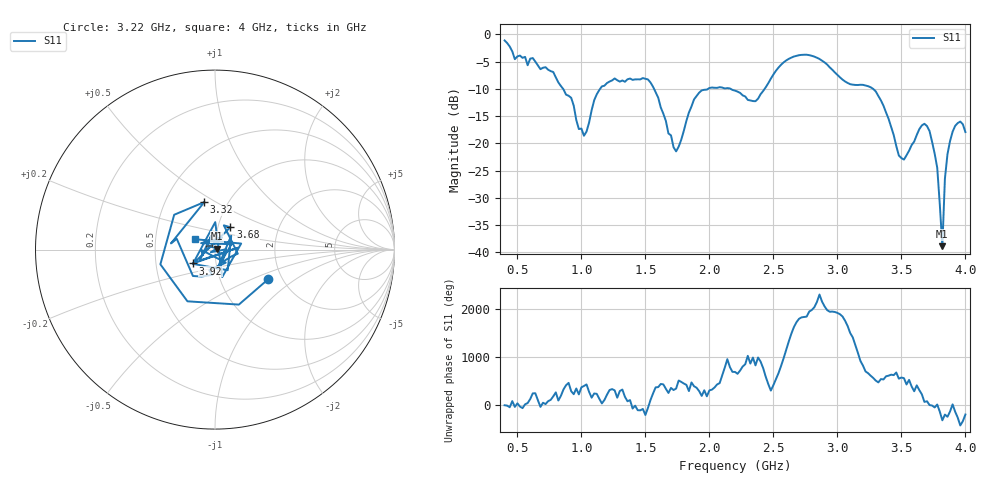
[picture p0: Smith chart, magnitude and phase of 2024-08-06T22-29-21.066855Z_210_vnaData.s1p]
!Created with skrf (http://scikit-rf.org).
# Hz S RI R 50.0
!freq ReS11 ImS11
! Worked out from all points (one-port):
!   181 points, 400 MHz to 4 GHz, reference 50 ohm
!   lowest |S11| = -38.9 dB at 3.82 GHz (marker M1), VSWR 1.02, Z = 51 + j0.614 ohm
!   |S11| at or under -10 dB: 856.7 MHz to 1.146 GHz (289.8 MHz wide, 28.9 % of centre); 1.567 GHz to 1.99 GHz (423.1 MHz wide, 23.8 % of centre); 3.278 GHz to end of sweep (the widest 3 of 4)
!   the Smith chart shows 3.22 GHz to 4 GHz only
!   S11 on the Smith chart (normalised r, x): 3.22 GHz: 1.69, -0.63; 3.32 GHz: 0.78, +0.44; 3.68 GHz: 1.15, +0.29; 3.92 GHz: 0.77, -0.12; 4 GHz: 0.79, +0.09
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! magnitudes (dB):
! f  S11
! 400 MHz  -1.1
! 480 MHz  -4.6
! 620 MHz  -4.4
! 860 MHz  -10.1
! 1.02 GHz  -18.6
! 1.14 GHz  -10.2
! 1.3 GHz  -8.7
! 1.52 GHz  -8.3
! 1.72 GHz  -20.7
! 1.76 GHz  -20.6
! 1.92 GHz  -10.7
! 2.2 GHz  -10.3
! 2.36 GHz  -12.3
! 2.66 GHz  -4.1
! 2.86 GHz  -4.5
! 3.1 GHz  -9.2
! 3.22 GHz  -9.4
! 3.32 GHz  -11.3
! 3.48 GHz  -22.2
! 3.56 GHz  -21.4
! 3.68 GHz  -16.4
! 3.72 GHz  -17.8
! 3.78 GHz  -24.5
! 3.82 GHz  -38.9
! 3.84 GHz  -26.5
! 3.86 GHz  -22.0
! 3.92 GHz  -16.8
! 4 GHz  -17.9
